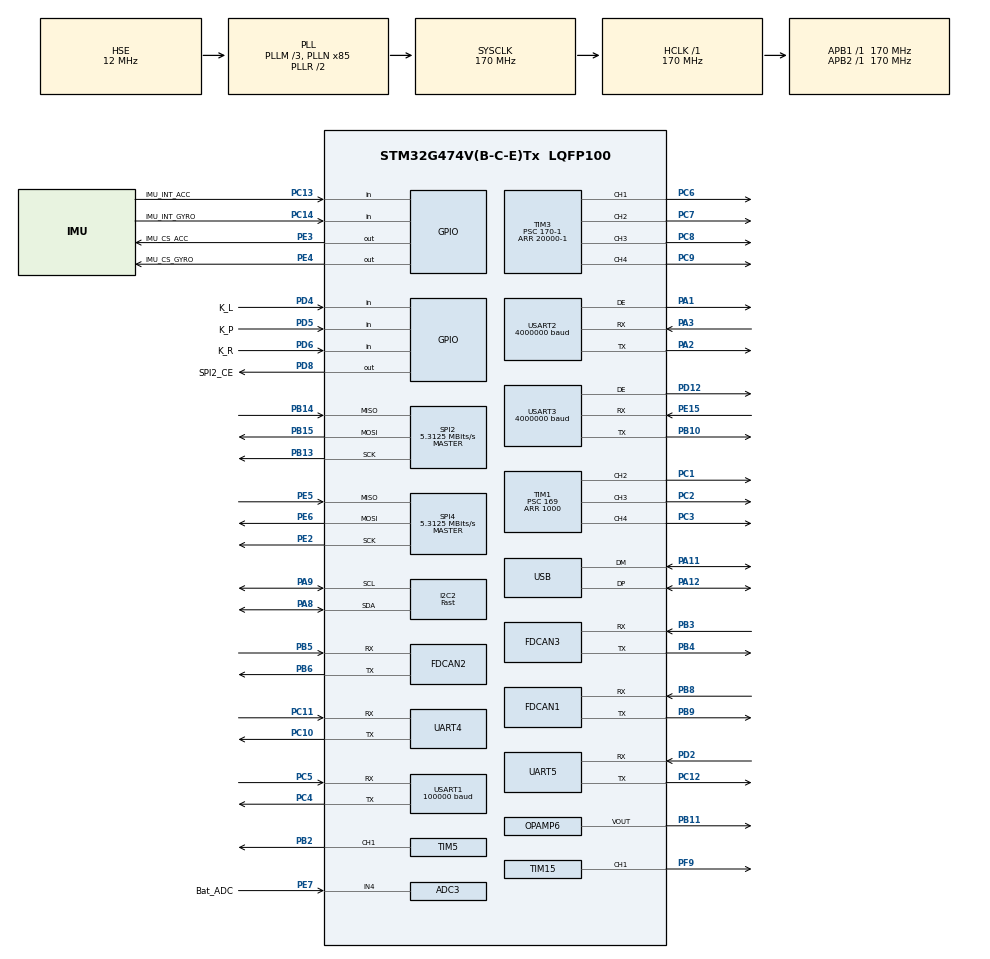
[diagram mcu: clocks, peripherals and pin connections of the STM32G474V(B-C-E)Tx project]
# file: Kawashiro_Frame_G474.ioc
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ADC3.Channel-0\#ChannelRegularConversion=ADC_CHANNEL_4
ADC3.NbrOfConversionFlag=1
ADC3.OffsetNumber-0\#ChannelRegularConversion=ADC_OFFSET_NONE
ADC3.Rank-0\#ChannelRegularConversion=1
ADC3.SamplingTime-0\#ChannelRegularConversion=ADC_SAMPLETIME_2CYCLES_5
ADC3.master=1
Dma.Request0=UART4_RX
Dma.Request1=UART5_RX
Dma.Request2=USART1_RX
Dma.Request3=USART2_RX
Dma.Request4=USART3_RX
Dma.Request5=UART4_TX
Dma.Request6=UART5_TX
Dma.Request7=USART1_TX
Dma.Request8=USART2_TX
Dma.Request9=USART3_TX
Dma.UART4_RX.0.Direction=DMA_PERIPH_TO_MEMORY
Dma.UART4_RX.0.EventEnable=DISABLE
Dma.UART4_RX.0.Instance=DMA1_Channel1
Dma.UART4_RX.0.MemDataAlignment=DMA_MDATAALIGN_BYTE
Dma.UART4_RX.0.MemInc=DMA_MINC_ENABLE
Dma.UART4_RX.0.Mode=DMA_NORMAL
Dma.UART4_RX.0.PeriphDataAlignment=DMA_PDATAALIGN_BYTE
Dma.UART4_RX.0.PeriphInc=DMA_PINC_DISABLE
Dma.UART4_RX.0.Polarity=HAL_DMAMUX_REQ_GEN_RISING
Dma.UART4_RX.0.Priority=DMA_PRIORITY_LOW
Dma.UART4_RX.0.RequestNumber=1
Dma.UART4_RX.0.SignalID=NONE
Dma.UART4_RX.0.SyncEnable=DISABLE
Dma.UART4_RX.0.SyncPolarity=HAL_DMAMUX_SYNC_NO_EVENT
Dma.UART4_RX.0.SyncRequestNumber=1
Dma.UART4_RX.0.SyncSignalID=NONE
Dma.UART4_TX.5.Direction=DMA_MEMORY_TO_PERIPH
Dma.UART4_TX.5.EventEnable=DISABLE
Dma.UART4_TX.5.Instance=DMA1_Channel6
Dma.UART4_TX.5.MemDataAlignment=DMA_MDATAALIGN_BYTE
Dma.UART4_TX.5.MemInc=DMA_MINC_ENABLE
Dma.UART4_TX.5.Mode=DMA_NORMAL
Dma.UART4_TX.5.PeriphDataAlignment=DMA_PDATAALIGN_BYTE
Dma.UART4_TX.5.PeriphInc=DMA_PINC_DISABLE
Dma.UART4_TX.5.Polarity=HAL_DMAMUX_REQ_GEN_RISING
Dma.UART4_TX.5.Priority=DMA_PRIORITY_LOW
Dma.UART4_TX.5.RequestNumber=1
Dma.UART4_TX.5.SignalID=NONE
Dma.UART4_TX.5.SyncEnable=DISABLE
Dma.UART4_TX.5.SyncPolarity=HAL_DMAMUX_SYNC_NO_EVENT
Dma.UART4_TX.5.SyncRequestNumber=1
Dma.UART4_TX.5.SyncSignalID=NONE
Dma.UART5_RX.1.Direction=DMA_PERIPH_TO_MEMORY
Dma.UART5_RX.1.EventEnable=ENABLE
Dma.UART5_RX.1.Instance=DMA1_Channel2
Dma.UART5_RX.1.MemDataAlignment=DMA_MDATAALIGN_BYTE
Dma.UART5_RX.1.MemInc=DMA_MINC_ENABLE
Dma.UART5_RX.1.Mode=DMA_NORMAL
Dma.UART5_RX.1.PeriphDataAlignment=DMA_PDATAALIGN_BYTE
Dma.UART5_RX.1.PeriphInc=DMA_PINC_DISABLE
Dma.UART5_RX.1.Polarity=HAL_DMAMUX_REQ_GEN_RISING
Dma.UART5_RX.1.Priority=DMA_PRIORITY_LOW
Dma.UART5_RX.1.RequestNumber=1
Dma.UART5_RX.1.SignalID=NONE
Dma.UART5_RX.1.SyncEnable=DISABLE
Dma.UART5_RX.1.SyncPolarity=HAL_DMAMUX_SYNC_NO_EVENT
Dma.UART5_RX.1.SyncRequestNumber=1
Dma.UART5_RX.1.SyncSignalID=NONE
Dma.UART5_TX.6.Direction=DMA_MEMORY_TO_PERIPH
Dma.UART5_TX.6.EventEnable=DISABLE
Dma.UART5_TX.6.Instance=DMA1_Channel7
Dma.UART5_TX.6.MemDataAlignment=DMA_MDATAALIGN_BYTE
Dma.UART5_TX.6.MemInc=DMA_MINC_ENABLE
Dma.UART5_TX.6.Mode=DMA_NORMAL
Dma.UART5_TX.6.PeriphDataAlignment=DMA_PDATAALIGN_BYTE
Dma.UART5_TX.6.PeriphInc=DMA_PINC_DISABLE
Dma.UART5_TX.6.Polarity=HAL_DMAMUX_REQ_GEN_RISING
Dma.UART5_TX.6.Priority=DMA_PRIORITY_LOW
Dma.UART5_TX.6.RequestNumber=1
Dma.UART5_TX.6.SignalID=NONE
Dma.UART5_TX.6.SyncEnable=DISABLE
Dma.UART5_TX.6.SyncPolarity=HAL_DMAMUX_SYNC_NO_EVENT
Dma.UART5_TX.6.SyncRequestNumber=1
Dma.UART5_TX.6.SyncSignalID=NONE
Dma.USART1_RX.2.Direction=DMA_PERIPH_TO_MEMORY
Dma.USART1_RX.2.EventEnable=DISABLE
Dma.USART1_RX.2.Instance=DMA1_Channel3
Dma.USART1_RX.2.MemDataAlignment=DMA_MDATAALIGN_BYTE
Dma.USART1_RX.2.MemInc=DMA_MINC_ENABLE
Dma.USART1_RX.2.Mode=DMA_NORMAL
Dma.USART1_RX.2.PeriphDataAlignment=DMA_PDATAALIGN_BYTE
Dma.USART1_RX.2.PeriphInc=DMA_PINC_DISABLE
Dma.USART1_RX.2.Polarity=HAL_DMAMUX_REQ_GEN_RISING
Dma.USART1_RX.2.Priority=DMA_PRIORITY_LOW
Dma.USART1_RX.2.RequestNumber=1
Dma.USART1_RX.2.SignalID=NONE
Dma.USART1_RX.2.SyncEnable=DISABLE
Dma.USART1_RX.2.SyncPolarity=HAL_DMAMUX_SYNC_NO_EVENT
Dma.USART1_RX.2.SyncRequestNumber=1
Dma.USART1_RX.2.SyncSignalID=NONE
Dma.USART1_TX.7.Direction=DMA_MEMORY_TO_PERIPH
Dma.USART1_TX.7.EventEnable=DISABLE
Dma.USART1_TX.7.Instance=DMA1_Channel8
Dma.USART1_TX.7.MemDataAlignment=DMA_MDATAALIGN_BYTE
Dma.USART1_TX.7.MemInc=DMA_MINC_ENABLE
Dma.USART1_TX.7.Mode=DMA_NORMAL
Dma.USART1_TX.7.PeriphDataAlignment=DMA_PDATAALIGN_BYTE
Dma.USART1_TX.7.PeriphInc=DMA_PINC_DISABLE
Dma.USART1_TX.7.Polarity=HAL_DMAMUX_REQ_GEN_RISING
Dma.USART1_TX.7.Priority=DMA_PRIORITY_LOW
Dma.USART1_TX.7.RequestNumber=1
Dma.USART1_TX.7.SignalID=NONE
Dma.USART1_TX.7.SyncEnable=DISABLE
Dma.USART1_TX.7.SyncPolarity=HAL_DMAMUX_SYNC_NO_EVENT
Dma.USART1_TX.7.SyncRequestNumber=1
Dma.USART1_TX.7.SyncSignalID=NONE
Dma.USART2_RX.3.Direction=DMA_PERIPH_TO_MEMORY
Dma.USART2_RX.3.EventEnable=DISABLE
Dma.USART2_RX.3.Instance=DMA1_Channel4
Dma.USART2_RX.3.MemDataAlignment=DMA_MDATAALIGN_BYTE
Dma.USART2_RX.3.MemInc=DMA_MINC_ENABLE
Dma.USART2_RX.3.Mode=DMA_NORMAL
Dma.USART2_RX.3.PeriphDataAlignment=DMA_PDATAALIGN_BYTE
Dma.USART2_RX.3.PeriphInc=DMA_PINC_DISABLE
Dma.USART2_RX.3.Polarity=HAL_DMAMUX_REQ_GEN_RISING
Dma.USART2_RX.3.Priority=DMA_PRIORITY_LOW
Dma.USART2_RX.3.RequestNumber=1
Dma.USART2_RX.3.SignalID=NONE
Dma.USART2_RX.3.SyncEnable=DISABLE
Dma.USART2_RX.3.SyncPolarity=HAL_DMAMUX_SYNC_NO_EVENT
Dma.USART2_RX.3.SyncRequestNumber=1
Dma.USART2_RX.3.SyncSignalID=NONE
Dma.USART2_TX.8.Direction=DMA_MEMORY_TO_PERIPH
Dma.USART2_TX.8.EventEnable=DISABLE
Dma.USART2_TX.8.Instance=DMA2_Channel1
Dma.USART2_TX.8.MemDataAlignment=DMA_MDATAALIGN_BYTE
Dma.USART2_TX.8.MemInc=DMA_MINC_ENABLE
Dma.USART2_TX.8.Mode=DMA_NORMAL
Dma.USART2_TX.8.PeriphDataAlignment=DMA_PDATAALIGN_BYTE
Dma.USART2_TX.8.PeriphInc=DMA_PINC_DISABLE
Dma.USART2_TX.8.Polarity=HAL_DMAMUX_REQ_GEN_RISING
Dma.USART2_TX.8.Priority=DMA_PRIORITY_LOW
Dma.USART2_TX.8.RequestNumber=1
Dma.USART2_TX.8.SignalID=NONE
Dma.USART2_TX.8.SyncEnable=DISABLE
Dma.USART2_TX.8.SyncPolarity=HAL_DMAMUX_SYNC_NO_EVENT
Dma.USART2_TX.8.SyncRequestNumber=1
Dma.USART2_TX.8.SyncSignalID=NONE
Dma.USART3_RX.4.Direction=DMA_PERIPH_TO_MEMORY
Dma.USART3_RX.4.EventEnable=DISABLE
Dma.USART3_RX.4.Instance=DMA1_Channel5
Dma.USART3_RX.4.MemDataAlignment=DMA_MDATAALIGN_BYTE
Dma.USART3_RX.4.MemInc=DMA_MINC_ENABLE
Dma.USART3_RX.4.Mode=DMA_NORMAL
Dma.USART3_RX.4.PeriphDataAlignment=DMA_PDATAALIGN_BYTE
Dma.USART3_RX.4.PeriphInc=DMA_PINC_DISABLE
Dma.USART3_RX.4.Polarity=HAL_DMAMUX_REQ_GEN_RISING
Dma.USART3_RX.4.Priority=DMA_PRIORITY_LOW
Dma.USART3_RX.4.RequestNumber=1
Dma.USART3_RX.4.SignalID=NONE
Dma.USART3_RX.4.SyncEnable=DISABLE
Dma.USART3_RX.4.SyncPolarity=HAL_DMAMUX_SYNC_NO_EVENT
Dma.USART3_RX.4.SyncRequestNumber=1
Dma.USART3_RX.4.SyncSignalID=NONE
Dma.USART3_TX.9.Direction=DMA_MEMORY_TO_PERIPH
Dma.USART3_TX.9.EventEnable=DISABLE
Dma.USART3_TX.9.Instance=DMA2_Channel2
Dma.USART3_TX.9.MemDataAlignment=DMA_MDATAALIGN_BYTE
Dma.USART3_TX.9.MemInc=DMA_MINC_ENABLE
Dma.USART3_TX.9.Mode=DMA_NORMAL
Dma.USART3_TX.9.PeriphDataAlignment=DMA_PDATAALIGN_BYTE
Dma.USART3_TX.9.PeriphInc=DMA_PINC_DISABLE
Dma.USART3_TX.9.Polarity=HAL_DMAMUX_REQ_GEN_RISING
Dma.USART3_TX.9.Priority=DMA_PRIORITY_LOW
Dma.USART3_TX.9.RequestNumber=1
Dma.USART3_TX.9.SignalID=NONE
Dma.USART3_TX.9.SyncEnable=DISABLE
Dma.USART3_TX.9.SyncPolarity=HAL_DMAMUX_SYNC_NO_EVENT
Dma.USART3_TX.9.SyncRequestNumber=1
Dma.USART3_TX.9.SyncSignalID=NONE
FDCAN1.AutoRetransmission=ENABLE
FDCAN1.CalculateBaudRateNominal=1000000
FDCAN1.CalculateTimeBitNominal=1000
FDCAN1.CalculateTimeQuantumNominal=100.0
FDCAN1.NominalPrescaler=17
FDCAN1.NominalTimeSeg1=4
FDCAN1.NominalTimeSeg2=5
FDCAN2.AutoRetransmission=ENABLE
FDCAN2.CalculateBaudRateNominal=1000000
FDCAN2.CalculateTimeBitNominal=1000
FDCAN2.CalculateTimeQuantumNominal=100.0
FDCAN2.NominalPrescaler=17
FDCAN2.NominalTimeSeg1=4
FDCAN2.NominalTimeSeg2=5
FDCAN3.AutoRetransmission=ENABLE
FDCAN3.CalculateBaudRateNominal=1000000
FDCAN3.CalculateTimeBitNominal=1000
FDCAN3.CalculateTimeQuantumNominal=100.0
FDCAN3.NominalPrescaler=17
FDCAN3.NominalTimeSeg1=4
FDCAN3.NominalTimeSeg2=5
FREERTOS.Tasks01=defaultTask,0,128,StartDefaultTask,Default,NULL,Dynamic,NULL,NULL;Robo,-3,512,Robo_Task,Default,NULL,Dynamic,NULL,NULL;INS,-3,1024,INS_Task,Default,NULL,Dynamic,NULL,NULL;Gimbal,-3,1024,Gimbal_Task,Default,NULL,Dynamic,NULL,NULL;Chassis,-3,1024,Chassis_Task,Default,NULL,Dynamic,NULL,NULL;Communicate,-3,512,Communicate_Task,Default,NULL,Dynamic,NULL,NULL;Key_LED,-3,256,Key_LED_Task,Default,NULL,Dynamic,NULL,NULL;Buzzer,-3,256,Buzzer_Task,Default,NULL,Dynamic,NULL,NULL;UI,-3,256,UI_Task,Default,NULL,Dynamic,NULL,NULL;Shoot,-3,1024,Shoot_Task,Default,NULL,Dynamic,NULL,NULL;Aim,-3,512,Aim_Task,Default,NULL,Dynamic,NULL,NULL;ErrorHandle,-3,256,ErrorHandle_Task,Default,NULL,Dynamic,NULL,NULL
FREERTOS.configTOTAL_HEAP_SIZE=32768
I2C2.I2C_Speed_Mode=I2C_Fast
I2C2.Timing=0x40621236
Mcu.Family=STM32G4
Mcu.Name=STM32G474V(B-C-E)Tx
Mcu.Package=LQFP100
NVIC.DMA1_Channel1_IRQn=true\:4\:0\:true\:false\:true\:false\:false\:true\:true
NVIC.DMA1_Channel2_IRQn=true\:4\:0\:true\:false\:true\:false\:false\:true\:true
NVIC.DMA1_Channel3_IRQn=true\:4\:0\:true\:false\:true\:false\:false\:true\:true
NVIC.DMA1_Channel4_IRQn=true\:4\:0\:true\:false\:true\:false\:false\:true\:true
NVIC.DMA1_Channel5_IRQn=true\:4\:0\:true\:false\:true\:false\:false\:true\:true
NVIC.DMAMUX_OVR_IRQn=true\:5\:0\:false\:false\:true\:false\:false\:true\:true
NVIC.FDCAN1_IT0_IRQn=true\:5\:0\:false\:false\:true\:true\:true\:true\:true
NVIC.FDCAN1_IT1_IRQn=true\:5\:0\:false\:false\:true\:true\:true\:true\:true
NVIC.FDCAN2_IT0_IRQn=true\:5\:0\:false\:false\:true\:true\:true\:true\:true
NVIC.FDCAN2_IT1_IRQn=true\:5\:0\:false\:false\:true\:true\:true\:true\:true
NVIC.FDCAN3_IT0_IRQn=true\:5\:0\:false\:false\:true\:true\:true\:true\:true
NVIC.FDCAN3_IT1_IRQn=true\:5\:0\:false\:false\:true\:true\:true\:true\:true
NVIC.PriorityGroup=NVIC_PRIORITYGROUP_4
NVIC.TIM20_UP_IRQn=true\:15\:0\:false\:false\:true\:false\:false\:true\:true
NVIC.TimeBase=TIM20_UP_IRQn
NVIC.TimeBaseIP=TIM20
NVIC.UART4_IRQn=true\:4\:0\:true\:false\:true\:false\:true\:true\:true
NVIC.UART5_IRQn=true\:4\:0\:true\:false\:true\:false\:true\:true\:true
NVIC.USART1_IRQn=true\:4\:0\:true\:false\:true\:false\:true\:true\:true
NVIC.USART2_IRQn=true\:4\:0\:true\:false\:true\:false\:true\:true\:true
NVIC.USART3_IRQn=true\:4\:0\:true\:false\:true\:false\:true\:true\:true
NVIC.USB_LP_IRQn=true\:5\:0\:false\:false\:true\:true\:false\:true\:true
PA1.GPIO_Mode=GPIO_MODE_AF_PP
PA1.GPIO_PuPd=GPIO_PULLDOWN
PA1.GPIO_Speed=GPIO_SPEED_FREQ_HIGH
PA1.Mode=Hardware Flow Control (RS485)
PA1.Signal=USART2_DE
PA11.Mode=Device
PA11.Signal=USB_DM
PA12.Mode=Device
PA12.Signal=USB_DP
PA13.Mode=Serial_Wire
PA13.Signal=SYS_JTMS-SWDIO
PA14.Mode=Serial_Wire
PA14.Signal=SYS_JTCK-SWCLK
PA2.GPIO_Mode=GPIO_MODE_AF_PP
PA2.GPIO_PuPd=GPIO_PULLUP
PA2.GPIO_Speed=GPIO_SPEED_FREQ_HIGH
PA2.Mode=Asynchronous
PA2.Signal=USART2_TX
PA3.GPIO_Mode=GPIO_MODE_AF_PP
PA3.GPIO_PuPd=GPIO_PULLUP
PA3.GPIO_Speed=GPIO_SPEED_FREQ_HIGH
PA3.Mode=Asynchronous
PA3.Signal=USART2_RX
PA8.GPIO_Mode=GPIO_MODE_AF_OD
PA8.GPIO_Pu=GPIO_PULLUP
PA8.GPIO_Speed=GPIO_SPEED_FREQ_HIGH
PA8.Mode=I2C
PA8.Signal=I2C2_SDA
PA9.GPIO_Mode=GPIO_MODE_AF_OD
PA9.GPIO_Pu=GPIO_PULLUP
PA9.GPIO_Speed=GPIO_SPEED_FREQ_HIGH
PA9.Mode=I2C
PA9.Signal=I2C2_SCL
PB10.GPIO_Mode=GPIO_MODE_AF_PP
PB10.GPIO_PuPd=GPIO_PULLUP
PB10.GPIO_Speed=GPIO_SPEED_FREQ_HIGH
PB10.Mode=Asynchronous
PB10.Signal=USART3_TX
PB11.Mode=Follower-DAC_OUT2-INP
PB11.Signal=OPAMP6_VOUT
PB13.Mode=Full_Duplex_Master
PB13.Signal=SPI2_SCK
PB14.Mode=Full_Duplex_Master
PB14.Signal=SPI2_MISO
PB15.Mode=Full_Duplex_Master
PB15.Signal=SPI2_MOSI
PB2.Signal=S_TIM5_CH1
PB3.Mode=FDCAN_Activate
PB3.Signal=FDCAN3_RX
PB4.Mode=FDCAN_Activate
PB4.Signal=FDCAN3_TX
PB5.Mode=FDCAN_Activate
PB5.Signal=FDCAN2_RX
PB6.Mode=FDCAN_Activate
PB6.Signal=FDCAN2_TX
PB8-BOOT0.Mode=FDCAN_Activate
PB8-BOOT0.Signal=FDCAN1_RX
PB9.Mode=FDCAN_Activate
PB9.Signal=FDCAN1_TX
PC1.Signal=S_TIM1_CH2
PC10.GPIO_ModeDefaultPP=GPIO_MODE_AF_PP
PC10.GPIO_PuPd=GPIO_PULLUP
PC10.GPIO_Speed=GPIO_SPEED_FREQ_VERY_HIGH
PC10.Mode=Asynchronous
PC10.Signal=UART4_TX
PC11.GPIO_ModeDefaultPP=GPIO_MODE_AF_PP
PC11.GPIO_PuPd=GPIO_PULLUP
PC11.GPIO_Speed=GPIO_SPEED_FREQ_VERY_HIGH
PC11.Mode=Asynchronous
PC11.Signal=UART4_RX
PC12.GPIO_ModeDefaultPP=GPIO_MODE_AF_PP
PC12.GPIO_PuPd=GPIO_PULLUP
PC12.GPIO_Speed=GPIO_SPEED_FREQ_VERY_HIGH
PC12.Mode=Asynchronous
PC12.Signal=UART5_TX
PC13.GPIO_Label=IMU_INT_ACC
PC13.Signal=GPIO_Input
PC14-OSC32_IN.GPIO_Label=IMU_INT_GYRO
PC14-OSC32_IN.Signal=GPIO_Input
PC2.Signal=S_TIM1_CH3
PC3.Signal=S_TIM1_CH4
PC4.GPIO_Mode=GPIO_MODE_AF_PP
PC4.GPIO_PuPd=GPIO_PULLUP
PC4.GPIO_Speed=GPIO_SPEED_FREQ_HIGH
PC4.Mode=Asynchronous
PC4.Signal=USART1_TX
PC5.GPIO_Mode=GPIO_MODE_AF_PP
PC5.GPIO_PuPd=GPIO_PULLUP
PC5.GPIO_Speed=GPIO_SPEED_FREQ_HIGH
PC5.Mode=Asynchronous
PC5.Signal=USART1_RX
PC6.Signal=S_TIM3_CH1
PC7.Signal=S_TIM3_CH2
PC8.Signal=S_TIM3_CH3
PC9.Signal=S_TIM3_CH4
PD12.GPIO_Mode=GPIO_MODE_AF_PP
PD12.GPIO_PuPd=GPIO_PULLDOWN
PD12.GPIO_Speed=GPIO_SPEED_FREQ_HIGH
PD12.Mode=Hardware Flow Control (RS485)
PD12.Signal=USART3_DE
PD2.GPIO_ModeDefaultPP=GPIO_MODE_AF_PP
PD2.GPIO_PuPd=GPIO_PULLUP
PD2.GPIO_Speed=GPIO_SPEED_FREQ_VERY_HIGH
PD2.Mode=Asynchronous
PD2.Signal=UART5_RX
PD4.GPIO_Label=K_L
PD4.GPIO_Mode=GPIO_MODE_INPUT
PD4.GPIO_PuPd=GPIO_PULLUP
PD4.Signal=GPIO_Input
PD5.GPIO_Label=K_P
PD5.GPIO_Mode=GPIO_MODE_INPUT
PD5.GPIO_PuPd=GPIO_PULLUP
PD5.Signal=GPIO_Input
PD6.GPIO_Label=K_R
PD6.GPIO_Mode=GPIO_MODE_INPUT
PD6.GPIO_PuPd=GPIO_PULLUP
PD6.Signal=GPIO_Input
PD8.GPIO_Label=SPI2_CE
PD8.GPIO_ModeDefaultOutputPP=GPIO_MODE_OUTPUT_PP
PD8.GPIO_PuPd=GPIO_PULLUP
PD8.GPIO_Speed=GPIO_SPEED_FREQ_HIGH
PD8.PinState=GPIO_PIN_SET
PD8.Signal=GPIO_Output
PE15.GPIO_Mode=GPIO_MODE_AF_PP
PE15.GPIO_PuPd=GPIO_PULLUP
PE15.GPIO_Speed=GPIO_SPEED_FREQ_HIGH
PE15.Mode=Asynchronous
PE15.Signal=USART3_RX
PE2.GPIO_Speed=GPIO_SPEED_FREQ_VERY_HIGH
PE2.Mode=Full_Duplex_Master
PE2.Signal=SPI4_SCK
PE3.GPIO_Label=IMU_CS_ACC
PE3.GPIO_ModeDefaultOutputPP=GPIO_MODE_OUTPUT_PP
PE3.GPIO_PuPd=GPIO_PULLUP
PE3.GPIO_Speed=GPIO_SPEED_FREQ_HIGH
PE3.PinState=GPIO_PIN_SET
PE3.Signal=GPIO_Output
PE4.GPIO_Label=IMU_CS_GYRO
PE4.GPIO_ModeDefaultOutputPP=GPIO_MODE_OUTPUT_PP
PE4.GPIO_PuPd=GPIO_PULLUP
PE4.GPIO_Speed=GPIO_SPEED_FREQ_HIGH
PE4.PinState=GPIO_PIN_SET
PE4.Signal=GPIO_Output
PE5.GPIO_Speed=GPIO_SPEED_FREQ_VERY_HIGH
PE5.Mode=Full_Duplex_Master
PE5.Signal=SPI4_MISO
PE6.GPIO_Speed=GPIO_SPEED_FREQ_VERY_HIGH
PE6.Mode=Full_Duplex_Master
PE6.Signal=SPI4_MOSI
PE7.GPIO_Label=Bat_ADC
PE7.Mode=IN4-Single-Ended
PE7.Signal=ADC3_IN4
PF0-OSC_IN.Mode=HSE-External-Oscillator
PF0-OSC_IN.Signal=RCC_OSC_IN
PF1-OSC_OUT.Mode=HSE-External-Oscillator
PF1-OSC_OUT.Signal=RCC_OSC_OUT
PF9.Signal=S_TIM15_CH1
ProjectManager.HeapSize=0x2000
ProjectManager.StackSize=0x4000
ProjectManager.TargetToolchain=CMake
RCC.ADC12Freq_Value=170000000
RCC.ADC345Freq_Value=170000000
RCC.AHBFreq_Value=170000000
RCC.APB1Freq_Value=170000000
RCC.APB1TimFreq_Value=170000000
RCC.APB2Freq_Value=170000000
RCC.APB2TimFreq_Value=170000000
RCC.CK48CLockSelection=RCC_USBCLKSOURCE_HSI48
RCC.CortexFreq_Value=170000000
RCC.EXTERNAL_CLOCK_VALUE=12288000
RCC.HCLKFreq_Value=170000000
RCC.HSE_VALUE=12000000
RCC.HSI48_VALUE=48000000
RCC.HSI_VALUE=16000000
RCC.LSE_VALUE=32768
RCC.PLLM=RCC_PLLM_DIV3
RCC.PLLN=85
RCC.PLLQ=RCC_PLLQ_DIV8
RCC.PLLSourceVirtual=RCC_PLLSOURCE_HSE
RCC.SYSCLKFreq_VALUE=170000000
RCC.SYSCLKSource=RCC_SYSCLKSOURCE_PLLCLK
RCC.USBFreq_Value=48000000
RCC.VCOOutputFreq_Value=340000000
SH.S_TIM15_CH1.0=TIM15_CH1,PWM Generation1 CH1
SH.S_TIM1_CH2.0=TIM1_CH2,PWM Generation2 CH2
SH.S_TIM1_CH3.0=TIM1_CH3,PWM Generation3 CH3
SH.S_TIM1_CH4.0=TIM1_CH4,PWM Generation4 CH4
SH.S_TIM3_CH1.0=TIM3_CH1,PWM Generation1 CH1
SH.S_TIM3_CH2.0=TIM3_CH2,PWM Generation2 CH2
SH.S_TIM3_CH3.0=TIM3_CH3,PWM Generation3 CH3
SH.S_TIM3_CH4.0=TIM3_CH4,PWM Generation4 CH4
SH.S_TIM5_CH1.0=TIM5_CH1,PWM Generation1 CH1
SPI2.BaudRatePrescaler=SPI_BAUDRATEPRESCALER_32
SPI2.CalculateBaudRate=5.3125 MBits/s
SPI2.DataSize=SPI_DATASIZE_8BIT
SPI2.Direction=SPI_DIRECTION_2LINES
SPI2.Mode=SPI_MODE_MASTER
SPI2.VirtualType=VM_MASTER
SPI4.BaudRatePrescaler=SPI_BAUDRATEPRESCALER_32
SPI4.CLKPhase=SPI_PHASE_2EDGE
SPI4.CLKPolarity=SPI_POLARITY_HIGH
SPI4.CalculateBaudRate=5.3125 MBits/s
SPI4.DataSize=SPI_DATASIZE_8BIT
SPI4.Direction=SPI_DIRECTION_2LINES
SPI4.Mode=SPI_MODE_MASTER
SPI4.VirtualType=VM_MASTER
TIM1.Channel-PWM\ Generation2\ CH2=TIM_CHANNEL_2
TIM1.Channel-PWM\ Generation3\ CH3=TIM_CHANNEL_3
TIM1.Channel-PWM\ Generation4\ CH4=TIM_CHANNEL_4
TIM1.OCPolarity_2=TIM_OCPOLARITY_LOW
TIM1.OCPolarity_3=TIM_OCPOLARITY_LOW
TIM1.OCPolarity_4=TIM_OCPOLARITY_LOW
TIM1.PeriodNoDither=1000
TIM1.Prescaler=169
TIM15.Channel-PWM\ Generation1\ CH1=TIM_CHANNEL_1
TIM15.PeriodNoDither=20000-1
TIM15.Prescaler=170-1
TIM3.Channel-PWM\ Generation1\ CH1=TIM_CHANNEL_1
TIM3.Channel-PWM\ Generation2\ CH2=TIM_CHANNEL_2
TIM3.Channel-PWM\ Generation3\ CH3=TIM_CHANNEL_3
TIM3.Channel-PWM\ Generation4\ CH4=TIM_CHANNEL_4
TIM3.PeriodNoDither=20000-1
TIM3.Prescaler=170-1
TIM5.AutoReloadPreload=TIM_AUTORELOAD_PRELOAD_ENABLE
TIM5.Channel-PWM\ Generation1\ CH1=TIM_CHANNEL_1
TIM5.OC1Preload_PWM=DISABLE
TIM5.OCFastMode_PWM-PWM\ Generation1\ CH1=TIM_OCFAST_ENABLE
TIM5.PeriodNoDither=1000-1
TIM5.Prescaler=170-1
USART1.BaudRate=100000
USART1.Parity=PARITY_EVEN
USART1.VirtualMode-Asynchronous=VM_ASYNC
USART1.WordLength=WORDLENGTH_9B
USART2.BaudRate=4000000
USART2.VirtualMode-Asynchronous=VM_ASYNC
USART2.VirtualMode-Hardware\ Flow\ Control\ (RS485)=VM_ASYNC
USART3.BaudRate=4000000
USART3.VirtualMode-Asynchronous=VM_ASYNC
USART3.VirtualMode-Hardware\ Flow\ Control\ (RS485)=VM_ASYNC
USB_DEVICE.CLASS_NAME_FS=CDC
USB_DEVICE.VirtualMode=Cdc
USB_DEVICE.VirtualModeFS=Cdc_FS
VP_CRC_VS_CRC.Mode=CRC_Activate
VP_DAC3_VS_DACI1.Mode=DAC_OUT1_Int
VP_FREERTOS_VS_CMSIS_V1.Mode=CMSIS_V1
VP_SYS_VS_DBSignals.Mode=DisableDeadBatterySignals
VP_SYS_VS_tim20.Mode=TIM20
VP_TIM15_VS_ClockSourceINT.Mode=Internal
VP_TIM1_VS_ClockSourceINT.Mode=Internal
VP_TIM3_VS_ClockSourceINT.Mode=Internal
VP_TIM5_VS_ClockSourceINT.Mode=Internal
VP_USB_DEVICE_VS_USB_DEVICE_CDC_FS.Mode=CDC_FS
board=custom

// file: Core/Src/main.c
/* USER CODE BEGIN Header */
/**
  ******************************************************************************
  * @file           : main.c
  * @brief          : Main program body
  ******************************************************************************
  * @attention
  *
  * Copyright (c) 2024 STMicroelectronics.
  * All rights reserved.
  *
  * This software is licensed under terms that can be found in the LICENSE file
  * in the root directory of this software component.
  * If no LICENSE file comes with this software, it is provided AS-IS.
  *
  ******************************************************************************
  */
/* USER CODE END Header */
#include "main.h"
#include "cmsis_os.h"
#include "adc.h"
#include "crc.h"
#include "dac.h"
#include "dma.h"
#include "fdcan.h"
#include "i2c.h"
#include "opamp.h"
#include "spi.h"
#include "tim.h"
#include "usart.h"
#include "usb_device.h"
#include "gpio.h"

/* USER CODE BEGIN Includes */
#include "BMI088driver.h"
#include "Buzzer.h"
#include "CAN_Driver.h"
#include "USART_Driver.h"
#include "USB_Driver.h"
/* USER CODE END Includes */

void SystemClock_Config(void);
void MX_FREERTOS_Init(void);

int main(void)
{

  /* MCU Configuration--------------------------------------------------------*/

  /* Reset of all peripherals, Initializes the Flash interface and the Systick. */
  HAL_Init();

  /* Configure the system clock */
  SystemClock_Config();

  /* Initialize all configured peripherals */
  MX_GPIO_Init();
  MX_DMA_Init();
  MX_FDCAN1_Init();
  MX_FDCAN2_Init();
  MX_FDCAN3_Init();
  MX_UART4_Init();
  MX_UART5_Init();
  MX_USART1_UART_Init();
  MX_USART2_UART_Init();
  MX_USART3_UART_Init();
  MX_ADC3_Init();
  MX_DAC3_Init();
  MX_I2C2_Init();
  MX_OPAMP6_Init();
  MX_SPI2_Init();
  MX_SPI4_Init();
  MX_TIM1_Init();
  MX_TIM3_Init();
  MX_TIM5_Init();
  MX_TIM15_Init();
  MX_CRC_Init();
  /* USER CODE BEGIN 2 */
    /*===| 蜂鸣器 |===*/
    Buzzer_Init();
    //        Buzzer_Set_Tone(L3);

    /*===| 初始化DWT |===*/
    DWT_Init(170);

    /*===| 等待陀螺仪校准 |===*/
    while (BMI088_init(IMU_SPI, 1) != BMI088_NO_ERROR)
        ;

    /*===| 通信初始化 |===*/
    CAN_Init(); //CAN初始化
    USART_Init(); //串口初始化

    /*===| 系统初始化完成提示音 |===*/
    Buzzer_Set_SoundEffect(Buzzer_SoundEffect_SystemStart);
  /* USER CODE END 2 */

  /* Call init function for freertos objects (in cmsis_os2.c) */
  MX_FREERTOS_Init();

  /* Start scheduler */
  osKernelStart();

  /* We should never get here as control is now taken by the scheduler */

  /* Infinite loop */
    while (1) {

    }
}

void SystemClock_Config(void)
{
  RCC_OscInitTypeDef RCC_OscInitStruct = {0};
  RCC_ClkInitTypeDef RCC_ClkInitStruct = {0};

  /** Configure the main internal regulator output voltage
  */
  HAL_PWREx_ControlVoltageScaling(PWR_REGULATOR_VOLTAGE_SCALE1_BOOST);

  /** Initializes the RCC Oscillators according to the specified parameters
  * in the RCC_OscInitTypeDef structure.
  */
  RCC_OscInitStruct.OscillatorType = RCC_OSCILLATORTYPE_HSI48|RCC_OSCILLATORTYPE_HSE;
  RCC_OscInitStruct.HSEState = RCC_HSE_ON;
  RCC_OscInitStruct.HSI48State = RCC_HSI48_ON;
  RCC_OscInitStruct.PLL.PLLState = RCC_PLL_ON;
  RCC_OscInitStruct.PLL.PLLSource = RCC_PLLSOURCE_HSE;
  RCC_OscInitStruct.PLL.PLLM = RCC_PLLM_DIV3;
  RCC_OscInitStruct.PLL.PLLN = 85;
  RCC_OscInitStruct.PLL.PLLP = RCC_PLLP_DIV2;
  RCC_OscInitStruct.PLL.PLLQ = RCC_PLLQ_DIV8;
  RCC_OscInitStruct.PLL.PLLR = RCC_PLLR_DIV2;
  if (HAL_RCC_OscConfig(&RCC_OscInitStruct) != HAL_OK)
  {
    Error_Handler();
  }

  /** Initializes the CPU, AHB and APB buses clocks
  */
  RCC_ClkInitStruct.ClockType = RCC_CLOCKTYPE_HCLK|RCC_CLOCKTYPE_SYSCLK
                              |RCC_CLOCKTYPE_PCLK1|RCC_CLOCKTYPE_PCLK2;
  RCC_ClkInitStruct.SYSCLKSource = RCC_SYSCLKSOURCE_PLLCLK;
  RCC_ClkInitStruct.AHBCLKDivider = RCC_SYSCLK_DIV1;
  RCC_ClkInitStruct.APB1CLKDivider = RCC_HCLK_DIV1;
  RCC_ClkInitStruct.APB2CLKDivider = RCC_HCLK_DIV1;

  if (HAL_RCC_ClockConfig(&RCC_ClkInitStruct, FLASH_LATENCY_4) != HAL_OK)
  {
    Error_Handler();
  }
}

void HAL_TIM_PeriodElapsedCallback(TIM_HandleTypeDef *htim)
{
  if (htim->Instance == TIM20) {
    HAL_IncTick();
  }
}

void Error_Handler(void)
{
    __disable_irq();
    while (1) {
    }
}

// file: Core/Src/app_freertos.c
/* USER CODE BEGIN Header */
/**
  ******************************************************************************
  * File Name          : app_freertos.c
  * Description        : Code for freertos applications
  ******************************************************************************
  * @attention
  *
  * Copyright (c) 2024 STMicroelectronics.
  * All rights reserved.
  *
  * This software is licensed under terms that can be found in the LICENSE file
  * in the root directory of this software component.
  * If no LICENSE file comes with this software, it is provided AS-IS.
  *
  ******************************************************************************
  */
/* USER CODE END Header */

#include "FreeRTOS.h"
#include "task.h"
#include "main.h"
#include "cmsis_os.h"

osThreadId defaultTaskHandle;
osThreadId RoboHandle;
osThreadId INSHandle;
osThreadId GimbalHandle;
osThreadId ChassisHandle;
osThreadId CommunicateHandle;
osThreadId Key_LEDHandle;
osThreadId BuzzerHandle;
osThreadId UIHandle;
osThreadId ShootHandle;
osThreadId AimHandle;
osThreadId ErrorHandleHandle;

void StartDefaultTask(void const * argument);
void Robo_Task(void const * argument);
void INS_Task(void const * argument);
void Gimbal_Task(void const * argument);
void Chassis_Task(void const * argument);
void Communicate_Task(void const * argument);
void Key_LED_Task(void const * argument);
void Buzzer_Task(void const * argument);
void UI_Task(void const * argument);
void Shoot_Task(void const * argument);
void Aim_Task(void const * argument);
void ErrorHandle_Task(void const * argument);

void MX_FREERTOS_Init(void); /* (MISRA C 2004 rule 8.1) */

void MX_FREERTOS_Init(void) {

  /* Create the thread(s) */
  /* definition and creation of defaultTask */
  osThreadDef(defaultTask, StartDefaultTask, osPriorityNormal, 0, 128);
  defaultTaskHandle = osThreadCreate(osThread(defaultTask), NULL);

  /* definition and creation of Robo */
  osThreadDef(Robo, Robo_Task, osPriorityIdle, 0, 512);
  RoboHandle = osThreadCreate(osThread(Robo), NULL);

  /* definition and creation of INS */
  osThreadDef(INS, INS_Task, osPriorityIdle, 0, 1024);
  INSHandle = osThreadCreate(osThread(INS), NULL);

  /* definition and creation of Gimbal */
  osThreadDef(Gimbal, Gimbal_Task, osPriorityIdle, 0, 1024);
  GimbalHandle = osThreadCreate(osThread(Gimbal), NULL);

  /* definition and creation of Chassis */
  osThreadDef(Chassis, Chassis_Task, osPriorityIdle, 0, 1024);
  ChassisHandle = osThreadCreate(osThread(Chassis), NULL);

  /* definition and creation of Communicate */
  osThreadDef(Communicate, Communicate_Task, osPriorityIdle, 0, 512);
  CommunicateHandle = osThreadCreate(osThread(Communicate), NULL);

  /* definition and creation of Key_LED */
  osThreadDef(Key_LED, Key_LED_Task, osPriorityIdle, 0, 256);
  Key_LEDHandle = osThreadCreate(osThread(Key_LED), NULL);

  /* definition and creation of Buzzer */
  osThreadDef(Buzzer, Buzzer_Task, osPriorityIdle, 0, 256);
  BuzzerHandle = osThreadCreate(osThread(Buzzer), NULL);

  /* definition and creation of UI */
  osThreadDef(UI, UI_Task, osPriorityIdle, 0, 256);
  UIHandle = osThreadCreate(osThread(UI), NULL);

  /* definition and creation of Shoot */
  osThreadDef(Shoot, Shoot_Task, osPriorityIdle, 0, 1024);
  ShootHandle = osThreadCreate(osThread(Shoot), NULL);

  /* definition and creation of Aim */
  osThreadDef(Aim, Aim_Task, osPriorityIdle, 0, 512);
  AimHandle = osThreadCreate(osThread(Aim), NULL);

  /* definition and creation of ErrorHandle */
  osThreadDef(ErrorHandle, ErrorHandle_Task, osPriorityIdle, 0, 256);
  ErrorHandleHandle = osThreadCreate(osThread(ErrorHandle), NULL);

}

/* USER CODE BEGIN Header_StartDefaultTask */
/**
  * @brief  Function implementing the defaultTask thread.
  * @param  argument: Not used
  * @retval None
  */
#include "Motor_Driver.h"
#include "Remote_Control.h"
#include "RoboControl.h"
/* USER CODE END Header_StartDefaultTask */
void StartDefaultTask(void const * argument)
{
  /* init code for USB_Device */
  MX_USB_Device_Init();
  /* USER CODE BEGIN StartDefaultTask */
    /* Infinite loop */
    for (;;) {
        /*===| 电机角度计算速度 |===*/
        Get_TotalAngle_Speed(&Motor.Pitch, 0.3f);
        //        Get_TotalAngle_Speed(&Motor_Data_Struct[Gimbal_Yaw_ID], 0.3f);

        osDelay(5);
    }
  /* USER CODE END StartDefaultTask */
}

/* USER CODE BEGIN Header_Robo_Task */
/**
* @brief Function implementing the Robo thread.
* @param argument: Not used
* @retval None
*/
__weak
/* USER CODE END Header_Robo_Task */
void Robo_Task(void const * argument)
{
    for (;;) {
        osDelay(1);
    }
}

/* USER CODE BEGIN Header_INS_Task */
/**
* @brief Function implementing the INS thread.
* @param argument: Not used
* @retval None
*/
__weak
/* USER CODE END Header_INS_Task */
void INS_Task(void const * argument)
{
    for (;;) {
        osDelay(1);
    }
}

/* USER CODE BEGIN Header_Gimbal_Task */
/**
* @brief Function implementing the Gimbal thread.
* @param argument: Not used
* @retval None
*/
__weak
/* USER CODE END Header_Gimbal_Task */
void Gimbal_Task(void const * argument)
{
    for (;;) {
        osDelay(1);
    }
}

/* USER CODE BEGIN Header_Chassis_Task */
/**
* @brief Function implementing the Chassis thread.
* @param argument: Not used
* @retval None
*/
__weak
/* USER CODE END Header_Chassis_Task */
void Chassis_Task(void const * argument)
{
    for (;;) {
        osDelay(1);
    }
}

/* USER CODE BEGIN Header_Communicate_Task */
/**
* @brief Function implementing the Communicate thread.
* @param argument: Not used
* @retval None
*/
__weak
/* USER CODE END Header_Communicate_Task */
void Communicate_Task(void const * argument)
{
    for (;;) {
        osDelay(1);
    }
}

/* USER CODE BEGIN Header_Key_LED_Task */
/**
* @brief Function implementing the Key_LED thread.
* @param argument: Not used
* @retval None
*/
__weak
/* USER CODE END Header_Key_LED_Task */
void Key_LED_Task(void const * argument)
{
    for (;;) {
        osDelay(1);
    }
}

/* USER CODE BEGIN Header_Buzzer_Task */
/**
* @brief Function implementing the Buzzer thread.
* @param argument: Not used
* @retval None
*/
__weak
/* USER CODE END Header_Buzzer_Task */
void Buzzer_Task(void const * argument)
{
    for (;;) {
        osDelay(1);
    }
}

/* USER CODE BEGIN Header_UI_Task */
/**
* @brief Function implementing the UI thread.
* @param argument: Not used
* @retval None
*/
__weak
/* USER CODE END Header_UI_Task */
void UI_Task(void const * argument)
{
    for (;;) {
        osDelay(1);
    }
}

/* USER CODE BEGIN Header_Shoot_Task */
/**
* @brief Function implementing the Shoot thread.
* @param argument: Not used
* @retval None
*/
__weak
/* USER CODE END Header_Shoot_Task */
void Shoot_Task(void const * argument)
{
    for (;;) {
        osDelay(1);
    }
}

/* USER CODE BEGIN Header_Aim_Task */
/**
* @brief Function implementing the Aim thread.
* @param argument: Not used
* @retval None
*/
__weak
/* USER CODE END Header_Aim_Task */
void Aim_Task(void const * argument)
{
    for (;;) {
        osDelay(1);
    }
}

/* USER CODE BEGIN Header_ErrorHandle_Task */
/**
* @brief Function implementing the ErrorHandle thread.
* @param argument: Not used
* @retval None
*/
__weak
/* USER CODE END Header_ErrorHandle_Task */
void ErrorHandle_Task(void const * argument)
{
    for (;;) {
        osDelay(1);
    }
}
